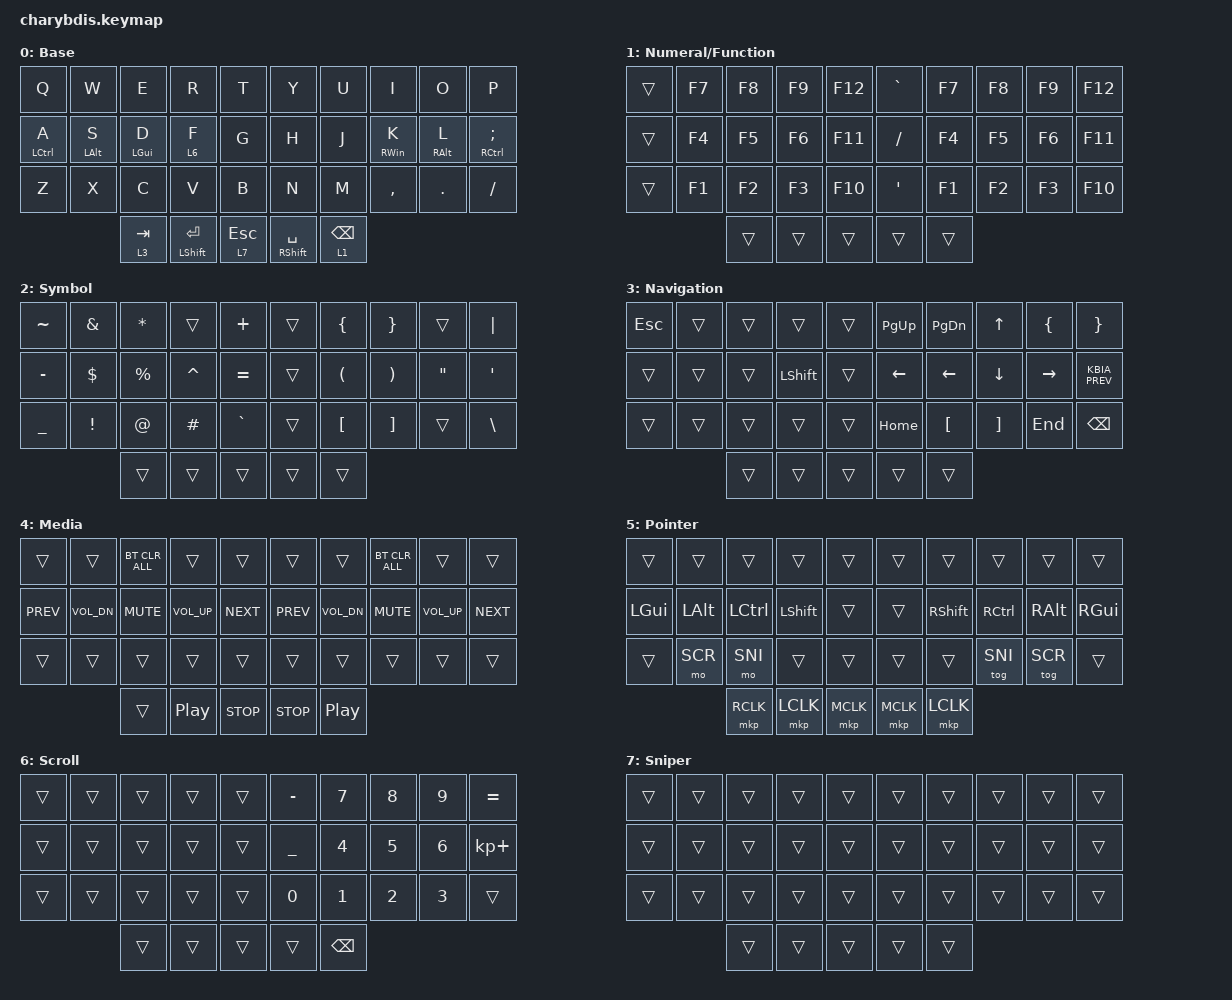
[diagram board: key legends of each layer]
#include <dt-bindings/zmk/mouse.h>
#include <behaviors/mouse_keys.dtsi>
#include <behaviors.dtsi>
#include <dt-bindings/zmk/bt.h>
#include <dt-bindings/zmk/keys.h>
#include <dt-bindings/zmk/pointing.h>

#define BASE 0
#define NUFU 1
#define SYM 2
#define NAV 3
#define MED 4
#define POI 5
#define SCR 6
#define SNI 7

&sl { release-after-ms = <250>; };

&mt {
    tapping-term-ms = <200>;
    require-prior-idle-ms = <150>;
};

/ {
    chosen { zmk,matrix_transform = &five_column_transform; };

    //#include "combos.dtsi"

    behaviors {
        hml: homewrow_mods_left {
            compatible = "zmk,behavior-hold-tap";
            label = "HOMEROW_MODS_LEFT_HAND";
            bindings = <&kp>, <&kp>;

            #binding-cells = <2>;
            tapping-term-ms = <280>;
            hold-trigger-key-positions = <5 6 7 8 9 15 16 17 18 19 25 26 27 28 29 33 34>;
            flavor = "balanced";
            quick-tap-ms = <175>;
            require-prior-idle-ms = <125>;
            hold-trigger-on-release;
        };

        hmr: homewrow_mods_right {
            compatible = "zmk,behavior-hold-tap";
            label = "HOMEROW_MODS_RIGHT_HAND";
            bindings = <&kp>, <&kp>;

            #binding-cells = <2>;
            tapping-term-ms = <280>;
            hold-trigger-key-positions = <0 1 2 3 4 10 11 12 13 14 20 21 22 23 24 30 31 32>;
            flavor = "balanced";
            quick-tap-ms = <175>;
            require-prior-idle-ms = <125>;
            hold-trigger-on-release;
        };

        hrml: hrml {
            compatible = "zmk,behavior-hold-tap";
            label = "HRML";
            bindings = <&kp>, <&kp>;

            #binding-cells = <2>;
            tapping-term-ms = <280>;
            quick-tap-ms = <175>;
            require-prior-idle-ms = <150>;
            flavor = "balanced";
            hold-trigger-key-positions = <5 6 7 8 9 15 16 17 18 19 25 26 27 28 29 33 34 30 31 32>;
            hold-trigger-on-release;
        };

        hrmr: hrmr {
            compatible = "zmk,behavior-hold-tap";
            label = "HRMR";
            bindings = <&kp>, <&kp>;

            #binding-cells = <2>;
            tapping-term-ms = <280>;
            quick-tap-ms = <175>;
            require-prior-idle-ms = <150>;
            flavor = "balanced";
            hold-trigger-key-positions = <0 1 2 3 4 10 11 12 13 14 20 21 22 23 24 30 31 32 34 33>;
            hold-trigger-on-release;
        };
    };

    combos {
        compatible = "zmk,combos";

        lclk_comb {
            bindings = <&mkp LCLK>;
            key-positions = <26 27>;
        };

        rclk_comb {
            bindings = <&mkp RCLK>;
            key-positions = <27 28>;
        };
    };

    keymap {
        compatible = "zmk,keymap";

        Base {
            label = "Base";
            bindings = <
  &kp Q                 &kp W         &kp E             &kp R                 &kp T           &kp Y                  &kp U            &kp I              &kp O         &kp P
  &hrml LEFT_CONTROL A  &hrml LALT S  &hrml LEFT_GUI D  &lt 6 F               &kp G           &kp H                  &kp J            &hrmr RIGHT_WIN K  &hrmr RALT L  &hrmr RIGHT_CONTROL SEMICOLON
  &kp Z                 &kp X         &kp C             &kp V                 &kp B           &kp N                  &kp M            &kp COMMA          &kp DOT       &kp FSLH
                                      &lt 3 TAB         &mt LEFT_SHIFT ENTER  &lt 7 ESCAPE    &mt RIGHT_SHIFT SPACE  &lt 1 BACKSPACE
            >;
        };

        NuFu {
            label = "Numeral/Function";
            bindings = <
  &trans  &kp F7  &kp F8  &kp F9  &kp F12    &kp GRAVE         &kp F7  &kp F8  &kp F9  &kp F12
  &trans  &kp F4  &kp F5  &kp F6  &kp F11    &kp SLASH         &kp F4  &kp F5  &kp F6  &kp F11
  &trans  &kp F1  &kp F2  &kp F3  &kp F10    &kp SINGLE_QUOTE  &kp F1  &kp F2  &kp F3  &kp F10
                  &trans  &trans  &trans     &trans            &trans
            >;
        };

        Symbol {
            label = "Symbol";
            bindings = <
  &kp TILDE  &kp AMPS  &kp STAR   &trans     &kp PLUS     &trans  &kp LBRC  &kp RBRC  &trans   &kp PIPE
  &kp MINUS  &kp DLLR  &kp PRCNT  &kp CARET  &kp EQUAL    &trans  &kp LPAR  &kp RPAR  &kp DQT  &kp APOS
  &kp UNDER  &kp EXCL  &kp AT     &kp HASH   &kp GRAVE    &trans  &kp LBKT  &kp RBKT  &trans   &kp BSLH
                       &trans     &trans     &trans       &trans  &trans
            >;
        };

        Navigation {
            label = "Navigation";
            bindings = <
  &kp ESCAPE  &trans  &trans  &trans          &trans    &kp PAGE_UP  &kp PAGE_DOWN     &kp UP_ARROW       &kp LEFT_BRACE  &kp RIGHT_BRACE
  &trans      &trans  &trans  &kp LEFT_SHIFT  &trans    &kp LEFT     &kp LEFT          &kp DOWN_ARROW     &kp RIGHT       &kp C_KBIA_PREV
  &trans      &trans  &trans  &trans          &trans    &kp HOME     &kp LEFT_BRACKET  &kp RIGHT_BRACKET  &kp END         &kp BACKSPACE
                      &trans  &trans          &trans    &trans       &trans
            >;
        };

        Media {
            label = "Media";
            bindings = <
  &trans      &trans        &bt BT_CLR_ALL  &trans            &trans        &trans      &trans            &bt BT_CLR_ALL  &trans        &trans
  &kp C_PREV  &kp C_VOL_DN  &kp C_MUTE      &kp C_VOL_UP      &kp C_NEXT    &kp C_PREV  &kp C_VOL_DN      &kp C_MUTE      &kp C_VOL_UP  &kp C_NEXT
  &trans      &trans        &trans          &trans            &trans        &trans      &trans            &trans          &trans        &trans
                            &trans          &kp C_PLAY_PAUSE  &kp C_STOP    &kp C_STOP  &kp C_PLAY_PAUSE
            >;
        };

        Pointer {
            label = "Pointer";
            bindings = <
  &trans    &trans    &trans     &trans     &trans       &trans     &trans     &trans     &trans    &trans
  &kp LGUI  &kp LALT  &kp LCTRL  &kp LSHFT  &trans       &trans     &kp RSHFT  &kp RCTRL  &kp RALT  &kp RGUI
  &trans    &mo SCR   &mo SNI    &trans     &trans       &trans     &trans     &tog SNI   &tog SCR  &trans
                      &mkp RCLK  &mkp LCLK  &mkp MCLK    &mkp MCLK  &mkp LCLK
            >;
        };

        Scroll {
            label = "Scroll";
            bindings = <
  &trans  &trans  &trans  &trans  &trans    &kp MINUS       &kp NUMBER_7   &kp NUMBER_8  &kp NUMBER_9  &kp EQUAL
  &trans  &trans  &trans  &trans  &trans    &kp UNDERSCORE  &kp NUMBER_4   &kp NUMBER_5  &kp NUMBER_6  &kp KP_PLUS
  &trans  &trans  &trans  &trans  &trans    &kp NUMBER_0    &kp NUMBER_1   &kp NUMBER_2  &kp NUMBER_3  &trans
                  &trans  &trans  &trans    &trans          &kp BACKSPACE
            >;
        };

        Sniper {
            label = "Sniper";
            bindings = <
  &trans  &trans  &trans  &trans  &trans    &trans  &trans  &trans  &trans  &trans
  &trans  &trans  &trans  &trans  &trans    &trans  &trans  &trans  &trans  &trans
  &trans  &trans  &trans  &trans  &trans    &trans  &trans  &trans  &trans  &trans
                  &trans  &trans  &trans    &trans  &trans
            >;
        };
    };
};
